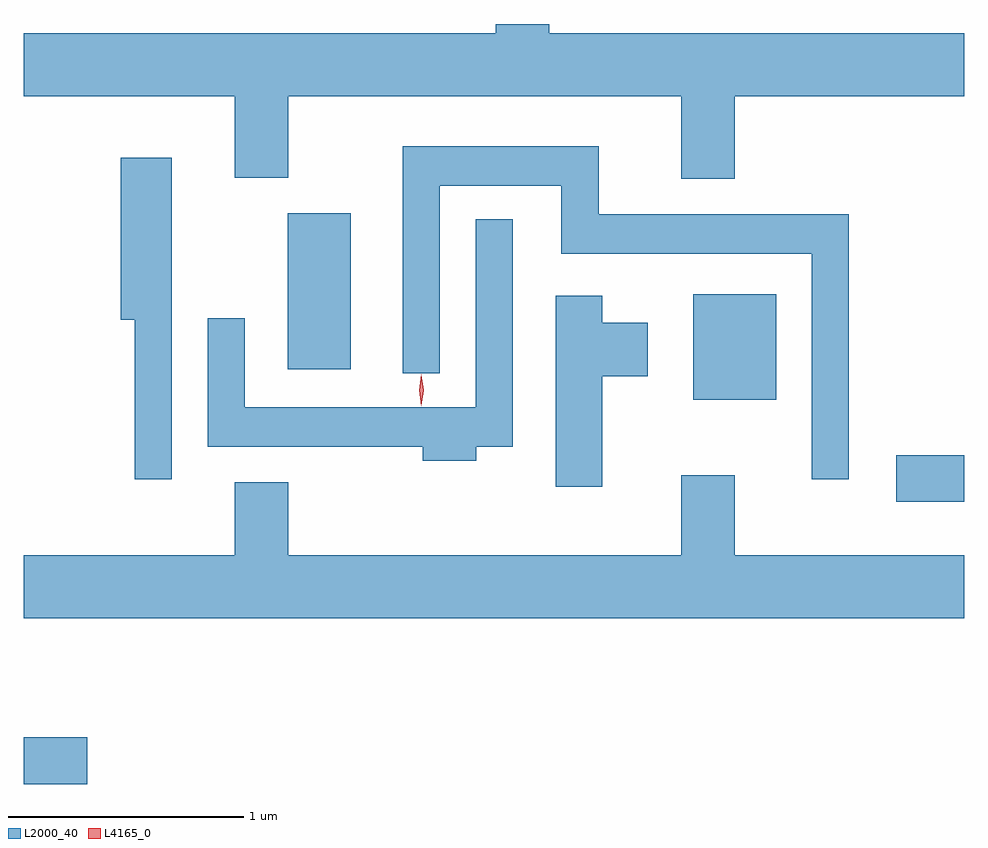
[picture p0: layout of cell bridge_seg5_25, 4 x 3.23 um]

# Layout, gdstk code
import gdstk
lib = gdstk.Library(unit=1e-6, precision=1e-09)
def R(c, l, rs):  # rectangles x0, y0, x1, y1
    for r in rs: c.add(gdstk.rectangle(r[:2], r[2:], *l))
def P(c, l, *ps):  # polygons
    for p in ps: c.add(gdstk.Polygon(p, *l))
L2000_40 = (2000, 40)
L4165_0 = (4165, 0)

bridge_seg5_25 = lib.new_cell('bridge_seg5_25')
R(bridge_seg5_25, L2000_40, [(1244.224,1471.631,1244.494,1471.829), (1247.936,1472.831,1248.224,1473.029), (1247.071,1473.266,1247.424,1473.714), (1245.346,1473.396,1245.614,1474.059)])
P(bridge_seg5_25, L2000_40, [(1247.249,1474.556),(1248.224,1474.556),(1248.224,1474.824),(1246.459,1474.824),(1246.459,1474.864),(1246.231,1474.864),(1246.231,1474.824),(1244.224,1474.824),(1244.224,1474.556),(1245.121,1474.556),(1245.121,1474.211),(1245.349,1474.211),(1245.349,1474.556),(1247.021,1474.556),(1247.021,1474.206),(1247.249,1474.206)],
  [(1247.734,1474.054),(1246.669,1474.054),(1246.669,1474.344),(1245.836,1474.344),(1245.836,1473.378),(1245.994,1473.378),(1245.994,1474.176),(1246.511,1474.176),(1246.511,1473.886),(1247.576,1473.886),(1247.576,1472.928),(1247.734,1472.928)],
  [(1244.854,1474.294),(1244.636,1474.294),(1244.636,1473.606),(1244.696,1473.606),(1244.696,1472.928),(1244.854,1472.928)],
  [(1246.149,1473.066),(1246.304,1473.066),(1246.304,1474.033),(1246.146,1474.033),(1246.146,1473.234),(1245.164,1473.234),(1245.164,1473.613),(1245.006,1473.613),(1245.006,1473.066),(1245.921,1473.066),(1245.921,1473.006),(1246.149,1473.006)],
  [(1246.684,1473.366),(1246.879,1473.366),(1246.879,1473.594),(1246.684,1473.594),(1246.684,1473.709),(1246.486,1473.709),(1246.486,1472.896),(1246.684,1472.896)],
  [(1248.224,1472.604),(1247.249,1472.604),(1247.249,1472.944),(1247.021,1472.944),(1247.021,1472.604),(1245.349,1472.604),(1245.349,1472.914),(1245.121,1472.914),(1245.121,1472.604),(1244.224,1472.604),(1244.224,1472.336),(1248.224,1472.336)])
P(bridge_seg5_25, L4165_0, [(1245.915,1473.239),(1245.914,1473.24),(1245.905,1473.306),(1245.914,1473.372),(1245.915,1473.373),(1245.915,1473.372),(1245.925,1473.306),(1245.915,1473.24)])

lib.write_gds('bridge_seg5_25.gds')
